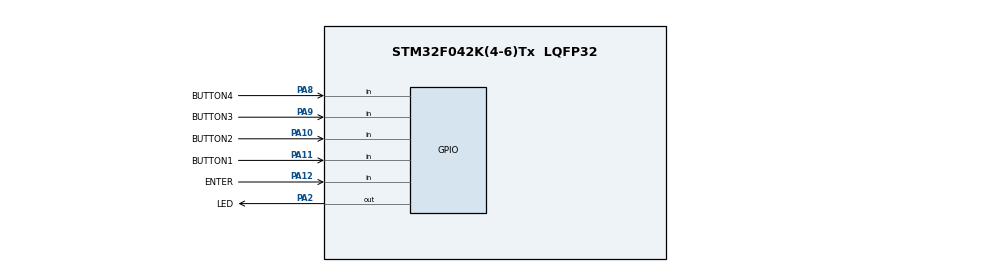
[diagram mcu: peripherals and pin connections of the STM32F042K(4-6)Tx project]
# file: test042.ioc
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Mcu.Family=STM32F0
PA9.GPIO_Label=BUTTON3
PA11.GPIO_Label=BUTTON1
PA12.GPIO_Label=ENTER
ProjectManager.StackSize=0x400
PA13.Signal=SYS_SWDIO
PA12.Signal=GPIO_Input
PA8.GPIO_Label=BUTTON4
ProjectManager.TargetToolchain=STM32CubeIDE
PA9.Signal=GPIO_Input
board=custom
PA14.Mode=Serial_Wire
PA10.GPIO_Label=BUTTON2
PA8.Signal=GPIO_Input
PA13.Mode=Serial_Wire
Mcu.Name=STM32F042K(4-6)Tx
PA2.Signal=GPIO_Output
Mcu.Package=LQFP32
PA2.GPIO_Label=LED
PA11.Signal=GPIO_Input
PA10.Signal=GPIO_Input
PA14.Signal=SYS_SWCLK
ProjectManager.HeapSize=0x200

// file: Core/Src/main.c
/* USER CODE BEGIN Header */
/**
  ******************************************************************************
  * @file           : main.c
  * @brief          : Main program body
  ******************************************************************************
  * @attention
  *
  * <h2><center>&copy; Copyright (c) 2021 STMicroelectronics.
  * All rights reserved.</center></h2>
  *
  * This software component is licensed by ST under BSD 3-Clause license,
  * the "License"; You may not use this file except in compliance with the
  * License. You may obtain a copy of the License at:
  *                        opensource.org/licenses/BSD-3-Clause
  *
  ******************************************************************************
  */
/* USER CODE END Header */
#include "main.h"

/* USER CODE BEGIN PTD */
//uint8_t getnumpad(void){
//	uint8_t return_num=0;
//	while(!return_num){
//		if(HAL_GPIO_ReadPin(BUTTON1_GPIO_Port, BUTTON1_Pin) == GPIO_PIN_SET){
//			return_num = 1;
//		} else if(HAL_GPIO_ReadPin(BUTTON2_GPIO_Port, BUTTON2_Pin) == GPIO_PIN_SET){
//			return_num = 2;
//		} else if(HAL_GPIO_ReadPin(BUTTON3_GPIO_Port, BUTTON3_Pin) == GPIO_PIN_SET){
//			return_num = 3;
//		} else if(HAL_GPIO_ReadPin(BUTTON4_GPIO_Port, BUTTON4_Pin) == GPIO_PIN_SET){
//			return_num = 4;
//		}
//	}
//	return return_num;
//}
//
//uint8_t getpin(uint8_t pin[4]){
//	for(uint8_t i=0; i<4; i++){
//		uint8_t getnum = getnumpad();
//		if(getnum != pin[i]){
//			return 0; //выходит из функции и возращает 0 если комба введена не верно
//		}
//	}
//	return 1; //возращает 1 если комба введена верно
//}

/* USER CODE END PTD */

void SystemClock_Config(void);
static void MX_GPIO_Init(void);

int main(void)
{

  /* MCU Configuration--------------------------------------------------------*/

  /* Reset of all peripherals, Initializes the Flash interface and the Systick. */
  HAL_Init();

  /* Configure the system clock */
  SystemClock_Config();

  /* Initialize all configured peripherals */
  MX_GPIO_Init();

  /* Infinite loop */
  /* USER CODE BEGIN WHILE */

  char valid_password[4] = {1,2,3,4};
  char enter_password[4] = {0};
  uint8_t count = 0;

  while (1)
  {
	  if(HAL_GPIO_ReadPin(BUTTON3_GPIO_Port, BUTTON3_Pin) == GPIO_PIN_RESET){
		  enter_password[count] = 1;
		  count++;

		  while(HAL_GPIO_ReadPin(BUTTON3_GPIO_Port, BUTTON3_Pin) == GPIO_PIN_RESET){}

	  } else if(HAL_GPIO_ReadPin(BUTTON1_GPIO_Port, BUTTON1_Pin) == GPIO_PIN_RESET){
		  enter_password[count] = 2;
		  count++;

		  while(HAL_GPIO_ReadPin(BUTTON1_GPIO_Port, BUTTON1_Pin) == GPIO_PIN_RESET){}

	  } else if(HAL_GPIO_ReadPin(BUTTON4_GPIO_Port, BUTTON4_Pin) == GPIO_PIN_RESET){
		  enter_password[count] = 3;
		  count++;

		  while(HAL_GPIO_ReadPin(BUTTON4_GPIO_Port, BUTTON4_Pin) == GPIO_PIN_RESET){}

	  } else if(HAL_GPIO_ReadPin(BUTTON2_GPIO_Port, BUTTON2_Pin) == GPIO_PIN_RESET){
		  enter_password[count] = 4;
		  count++;

		  while(HAL_GPIO_ReadPin(BUTTON2_GPIO_Port, BUTTON2_Pin) == GPIO_PIN_RESET){}

	  }

	  if (count == 4) {
		  count = 0;
		  if(!memcmp(valid_password, enter_password, 4)) {
			  HAL_GPIO_WritePin(LED_GPIO_Port, LED_Pin, GPIO_PIN_SET);
		  }
	  }

	  if(HAL_GPIO_ReadPin(ENTER_GPIO_Port, ENTER_Pin) == GPIO_PIN_RESET){
		  HAL_GPIO_WritePin(LED_GPIO_Port, LED_Pin, GPIO_PIN_RESET);
	  }

    /* USER CODE END WHILE */

  }
}

void SystemClock_Config(void)
{
  RCC_OscInitTypeDef RCC_OscInitStruct = {0};
  RCC_ClkInitTypeDef RCC_ClkInitStruct = {0};

  /** Initializes the RCC Oscillators according to the specified parameters
  * in the RCC_OscInitTypeDef structure.
  */
  RCC_OscInitStruct.OscillatorType = RCC_OSCILLATORTYPE_HSI;
  RCC_OscInitStruct.HSIState = RCC_HSI_ON;
  RCC_OscInitStruct.HSICalibrationValue = RCC_HSICALIBRATION_DEFAULT;
  RCC_OscInitStruct.PLL.PLLState = RCC_PLL_NONE;
  if (HAL_RCC_OscConfig(&RCC_OscInitStruct) != HAL_OK)
  {
    Error_Handler();
  }
  /** Initializes the CPU, AHB and APB buses clocks
  */
  RCC_ClkInitStruct.ClockType = RCC_CLOCKTYPE_HCLK|RCC_CLOCKTYPE_SYSCLK
                              |RCC_CLOCKTYPE_PCLK1;
  RCC_ClkInitStruct.SYSCLKSource = RCC_SYSCLKSOURCE_HSI;
  RCC_ClkInitStruct.AHBCLKDivider = RCC_SYSCLK_DIV1;
  RCC_ClkInitStruct.APB1CLKDivider = RCC_HCLK_DIV1;

  if (HAL_RCC_ClockConfig(&RCC_ClkInitStruct, FLASH_LATENCY_0) != HAL_OK)
  {
    Error_Handler();
  }
}

static void MX_GPIO_Init(void)
{
  GPIO_InitTypeDef GPIO_InitStruct = {0};

  /* GPIO Ports Clock Enable */
  __HAL_RCC_GPIOA_CLK_ENABLE();

  /*Configure GPIO pin Output Level */
  HAL_GPIO_WritePin(LED_GPIO_Port, LED_Pin, GPIO_PIN_RESET);

  /*Configure GPIO pin : LED_Pin */
  GPIO_InitStruct.Pin = LED_Pin;
  GPIO_InitStruct.Mode = GPIO_MODE_OUTPUT_PP;
  GPIO_InitStruct.Pull = GPIO_NOPULL;
  GPIO_InitStruct.Speed = GPIO_SPEED_FREQ_LOW;
  HAL_GPIO_Init(LED_GPIO_Port, &GPIO_InitStruct);

  /*Configure GPIO pins : BUTTON4_Pin BUTTON3_Pin BUTTON2_Pin BUTTON1_Pin
                           ENTER_Pin */
  GPIO_InitStruct.Pin = BUTTON4_Pin|BUTTON3_Pin|BUTTON2_Pin|BUTTON1_Pin
                          |ENTER_Pin;
  GPIO_InitStruct.Mode = GPIO_MODE_INPUT;
  GPIO_InitStruct.Pull = GPIO_NOPULL;
  HAL_GPIO_Init(GPIOA, &GPIO_InitStruct);

}

void Error_Handler(void)
{
  __disable_irq();
  while (1)
  {
  }
}

/************************ (C) COPYRIGHT STMicroelectronics *****END OF FILE****/
